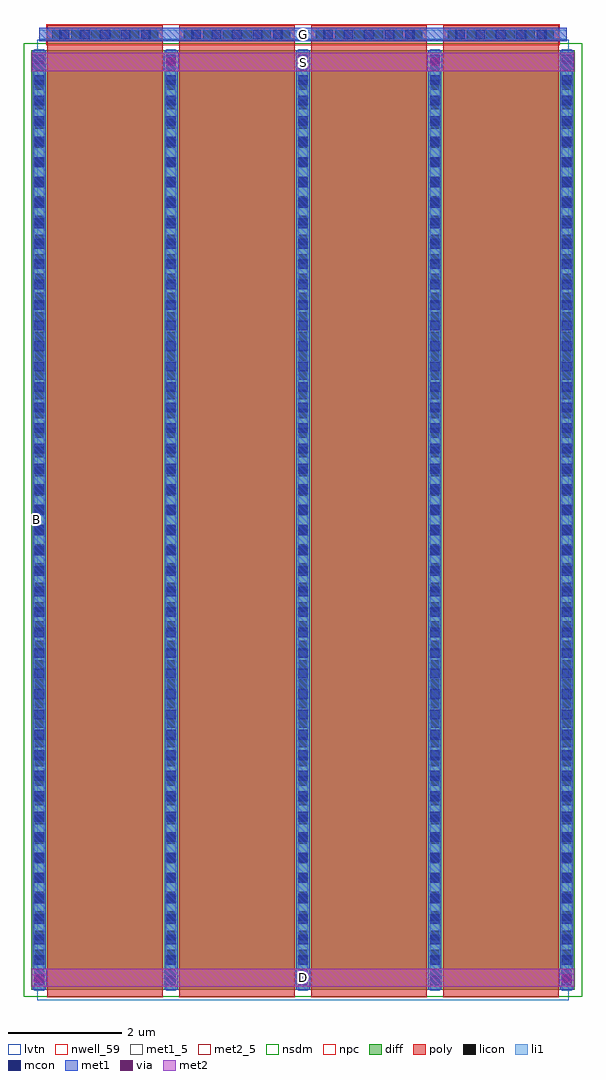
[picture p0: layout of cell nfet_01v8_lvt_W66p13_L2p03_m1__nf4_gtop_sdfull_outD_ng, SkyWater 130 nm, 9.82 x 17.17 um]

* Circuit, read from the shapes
.subckt nfet_01v8_lvt_W66p13_L2p03_m1__nf4_gtop_sdfull_outD_ng B D G S
XM1 S G D B sky130_fd_pr__nfet_01v8_lvt w=16.53 l=2.03 m=4
.ends

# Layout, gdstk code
import gdstk
lib = gdstk.Library(unit=1e-6, precision=1e-09)
def R(c, l, rs):  # rectangles x0, y0, x1, y1
    for r in rs: c.add(gdstk.rectangle(r[:2], r[2:], *l))
def A(c, l, x, y, w, h, nx, ny, dx, dy):  # array of equal rectangles
    R(c, l, [(x+i*dx, y+j*dy, x+i*dx+w, y+j*dy+h) for i in range(nx) for j in range(ny)])
nwell_59 = (64, 59)
diff = (65, 20)
poly = (66, 20)
licon = (66, 44)
li1 = (67, 20)
mcon = (67, 44)
met1_5 = (68, 5)
met1 = (68, 20)
via = (68, 44)
met2_5 = (69, 5)
met2 = (69, 20)
nsdm = (93, 44)
npc = (95, 20)
lvtn = (125, 44)

sky130_fd_pr__nfet_01v8_ = lib.new_cell('sky130_fd_pr__nfet_01v8_lvt_4W9HYT')
R(sky130_fd_pr__nfet_01v8_, diff, [(-4.785,-8.42,4.785,8.11)])
A(sky130_fd_pr__nfet_01v8_, poly, -4.495, -8.55, 2.03, 17.1, 4, 1, 2.32, 0)
A(sky130_fd_pr__nfet_01v8_, licon, -4.725, -8.23, 0.17, 0.17, 5, 48, 2.32, 0.34)
A(sky130_fd_pr__nfet_01v8_, licon, -4.415, 8.3, 0.17, 0.17, 6, 1, 0.34, 0)
A(sky130_fd_pr__nfet_01v8_, licon, -2.095, 8.3, 0.17, 0.17, 6, 1, 0.34, 0)
A(sky130_fd_pr__nfet_01v8_, licon, 0.225, 8.3, 0.17, 0.17, 6, 1, 0.34, 0)
A(sky130_fd_pr__nfet_01v8_, licon, 2.545, 8.3, 0.17, 0.17, 6, 1, 0.34, 0)
A(sky130_fd_pr__nfet_01v8_, li1, -4.725, -8.44, 0.17, 16.57, 5, 1, 2.32, 0)
R(sky130_fd_pr__nfet_01v8_, li1, [(-4.64,8.3,4.64,8.47)])
A(sky130_fd_pr__nfet_01v8_, mcon, -4.725, -8.34, 0.17, 0.17, 5, 46, 2.32, 0.36)
A(sky130_fd_pr__nfet_01v8_, mcon, -4.285, 8.3, 0.17, 0.17, 5, 1, 0.36, 0)
A(sky130_fd_pr__nfet_01v8_, mcon, -1.965, 8.3, 0.17, 0.17, 5, 1, 0.36, 0)
A(sky130_fd_pr__nfet_01v8_, mcon, 0.355, 8.3, 0.17, 0.17, 5, 1, 0.36, 0)
A(sky130_fd_pr__nfet_01v8_, mcon, 2.675, 8.3, 0.17, 0.17, 5, 1, 0.36, 0)
A(sky130_fd_pr__nfet_01v8_, met1, -4.755, -8.42, 0.23, 16.53, 5, 1, 2.32, 0)
A(sky130_fd_pr__nfet_01v8_, met1, -4.475, 8.27, 1.99, 0.03, 4, 2, 2.32, 0.2)
R(sky130_fd_pr__nfet_01v8_, met1, [(-4.64,8.3,4.64,8.47)])
R(sky130_fd_pr__nfet_01v8_, nsdm, [(-4.91,-8.545,4.91,8.235)])
R(sky130_fd_pr__nfet_01v8_, npc, [(-4.515,8.2,4.515,8.57)])
R(sky130_fd_pr__nfet_01v8_, lvtn, [(-4.675,-8.6,4.675,8.29)])
sky130_fd_pr__nfet_01v8_.add(gdstk.Label('D0', (-4.64,-0.155), layer=67, texttype=5))
sky130_fd_pr__nfet_01v8_.add(gdstk.Label('G', (3.48,8.385), layer=67, texttype=5))
sky130_fd_pr__nfet_01v8_.add(gdstk.Label('G', (1.16,8.385), layer=67, texttype=5))
sky130_fd_pr__nfet_01v8_.add(gdstk.Label('G', (-1.16,8.385), layer=67, texttype=5))
sky130_fd_pr__nfet_01v8_.add(gdstk.Label('G', (-3.48,8.385), layer=67, texttype=5))
sky130_fd_pr__nfet_01v8_.add(gdstk.Label('S1', (-2.32,-0.155), layer=67, texttype=5))
sky130_fd_pr__nfet_01v8_.add(gdstk.Label('D2', (0,-0.155), layer=67, texttype=5))
sky130_fd_pr__nfet_01v8_.add(gdstk.Label('S3', (2.32,-0.155), layer=67, texttype=5))

nfet_01v8_lvt_w66p13_l2p = lib.new_cell('nfet_01v8_lvt_W66p13_L2p03_m1__nf4_gtop_sdfull_outD_ng')
R(nfet_01v8_lvt_w66p13_l2p, nwell_59, [(0.05,8.345,0.15,8.445)])
R(nfet_01v8_lvt_w66p13_l2p, met1_5, [(0.145,16.82,9.425,17.05)])
A(nfet_01v8_lvt_w66p13_l2p, met1, 0.015, 0.18, 0.26, 0.32, 3, 1, 4.64, 0)
R(nfet_01v8_lvt_w66p13_l2p, met1, [(2.335,16.29,2.595,16.61), (6.975,16.29,7.235,16.61), (0.145,16.82,9.425,17.05)])
A(nfet_01v8_lvt_w66p13_l2p, via, 0.07, 0.265, 0.15, 0.15, 3, 1, 4.64, 0)
R(nfet_01v8_lvt_w66p13_l2p, via, [(2.39,16.375,2.54,16.525), (7.03,16.375,7.18,16.525)])
R(nfet_01v8_lvt_w66p13_l2p, met2_5, [(0.01,0.18,9.56,0.5), (0.01,16.29,9.56,16.61)])
R(nfet_01v8_lvt_w66p13_l2p, met2, [(0.01,0.18,9.56,0.5), (0.01,16.29,9.56,16.61)])
nfet_01v8_lvt_w66p13_l2p.add(gdstk.Reference(sky130_fd_pr__nfet_01v8_, (4.785,8.55)))
nfet_01v8_lvt_w66p13_l2p.add(gdstk.Label('S', (4.785,16.45), layer=69, texttype=5))
nfet_01v8_lvt_w66p13_l2p.add(gdstk.Label('D', (4.785,0.34), layer=69, texttype=5))
nfet_01v8_lvt_w66p13_l2p.add(gdstk.Label('G', (4.785,16.935), layer=68, texttype=5))
nfet_01v8_lvt_w66p13_l2p.add(gdstk.Label('B', (0.1,8.395), layer=64, texttype=59))

lib.write_gds('nfet_01v8_lvt_W66p13_L2p03_m1__nf4_gtop_sdfull_outD_ng.gds')
